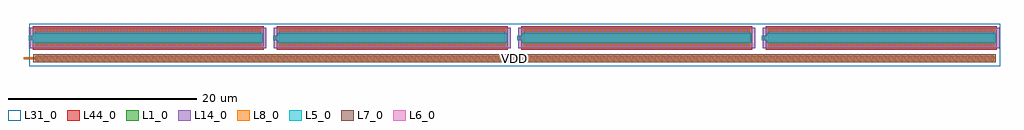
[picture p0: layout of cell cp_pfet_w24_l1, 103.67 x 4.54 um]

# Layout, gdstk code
import gdstk
lib = gdstk.Library(unit=1e-6, precision=1e-09)
def R(c, l, rs):  # rectangles x0, y0, x1, y1
    for r in rs: c.add(gdstk.rectangle(r[:2], r[2:], *l))
def A(c, l, x, y, w, h, nx, ny, dx, dy):  # array of equal rectangles
    R(c, l, [(x+i*dx, y+j*dy, x+i*dx+w, y+j*dy+h) for i in range(nx) for j in range(ny)])
L1_0 = (1, 0)
L5_0 = (5, 0)
L6_0 = (6, 0)
L7_0 = (7, 0)
L8_0 = (8, 0)
L14_0 = (14, 0)
L31_0 = (31, 0)
L44_0 = (44, 0)

cp_pfet_w24_l1 = lib.new_cell('cp_pfet_w24_l1')
A(cp_pfet_w24_l1, L1_0, 1.3, 2.46, 24, 1.8, 4, 1, 25.96, 0)
R(cp_pfet_w24_l1, L1_0, [(1.3,0.96,103.18,1.46)])
A(cp_pfet_w24_l1, L5_0, 1.12, 2.86, 24.36, 1, 4, 1, 25.96, 0)
A(cp_pfet_w24_l1, L5_0, 0.62, 3.11, 0.5, 0.5, 4, 1, 25.96, 0)
A(cp_pfet_w24_l1, L6_0, 1.5, 1.13, 0.16, 0.16, 299, 1, 0.34, 0)
A(cp_pfet_w24_l1, L6_0, 1.49, 2.53, 0.16, 0.16, 70, 2, 0.34, 1.5)
A(cp_pfet_w24_l1, L6_0, 27.45, 2.53, 0.16, 0.16, 70, 2, 0.34, 1.5)
A(cp_pfet_w24_l1, L6_0, 53.41, 2.53, 0.16, 0.16, 70, 2, 0.34, 1.5)
A(cp_pfet_w24_l1, L6_0, 79.37, 2.53, 0.16, 0.16, 70, 2, 0.34, 1.5)
A(cp_pfet_w24_l1, L6_0, 0.79, 3.28, 0.16, 0.16, 4, 1, 25.96, 0)
R(cp_pfet_w24_l1, L7_0, [(1.12,0.78,103.36,1.64)])
A(cp_pfet_w24_l1, L8_0, 1.3, 2.46, 24, 0.26, 4, 2, 25.96, 1.54)
A(cp_pfet_w24_l1, L8_0, 0.67, 3.16, 0.4, 0.4, 4, 1, 25.96, 0)
R(cp_pfet_w24_l1, L8_0, [(1.3,0.96,103.18,1.46), (0.125,1.085,1.3,1.335)])
A(cp_pfet_w24_l1, L14_0, 0.72, 2.28, 25.16, 2.16, 4, 1, 25.96, 0)
R(cp_pfet_w24_l1, L31_0, [(0.68,0.34,103.8,4.88)])
A(cp_pfet_w24_l1, L44_0, 1.03, 2.12, 24.54, 2.48, 4, 1, 25.96, 0)
cp_pfet_w24_l1.add(gdstk.Label('VDD', (52.24,1.21), layer=8, texttype=2))
cp_pfet_w24_l1.add(gdstk.Label('VDD', (52.24,2.61), layer=31, texttype=2))

lib.write_gds('cp_pfet_w24_l1.gds')
